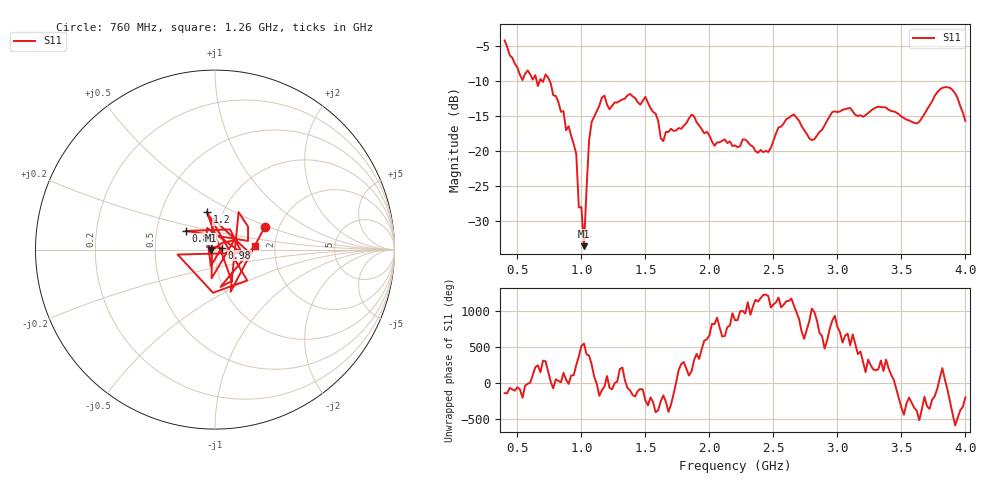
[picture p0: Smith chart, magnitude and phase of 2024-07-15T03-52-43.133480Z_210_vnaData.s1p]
!Created with skrf (http://scikit-rf.org).
# Hz S RI R 50.0
!freq ReS11 ImS11
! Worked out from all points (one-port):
!   181 points, 400 MHz to 4 GHz, reference 50 ohm
!   lowest |S11| = -33.7 dB at 1.02 GHz (marker M1), VSWR 1.04, Z = 48 - j0.426 ohm
!   |S11| at or under -10 dB: 650.8 MHz to 674.2 MHz (23.42 MHz wide, 3.54 % of centre); 693.9 MHz to 702.4 MHz (8.428 MHz wide, 1.21 % of centre); 752.5 MHz to end of sweep
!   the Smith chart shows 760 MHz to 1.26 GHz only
!   S11 on the Smith chart (normalised r, x): 760 MHz: 1.69, +0.47; 860 MHz: 0.71, +0.15; 980 MHz: 1.08, +0.02; 1.2 GHz: 0.84, +0.37; 1.26 GHz: 1.57, +0.07
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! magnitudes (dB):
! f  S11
! 400 MHz  -4.2
! 540 MHz  -9.9
! 760 MHz  -10.3
! 860 MHz  -14.3
! 960 MHz  -20.5
! 980 MHz  -28.1
! 1 GHz  -28.1
! 1.02 GHz  -33.7
! 1.06 GHz  -18.5
! 1.08 GHz  -15.9
! 1.16 GHz  -12.4
! 1.2 GHz  -13.4
! 1.26 GHz  -13.1
! 1.3 GHz  -12.8
! 1.5 GHz  -12.3
! 1.64 GHz  -18.6
! 1.76 GHz  -16.7
! 1.86 GHz  -14.8
! 2.04 GHz  -19.3
! 2.2 GHz  -19.2
! 2.46 GHz  -20.2
! 2.66 GHz  -14.8
! 2.8 GHz  -18.5
! 2.96 GHz  -14.4
! 3.1 GHz  -13.9
! 3.56 GHz  -15.6
! 3.84 GHz  -10.9
! 4 GHz  -15.7
